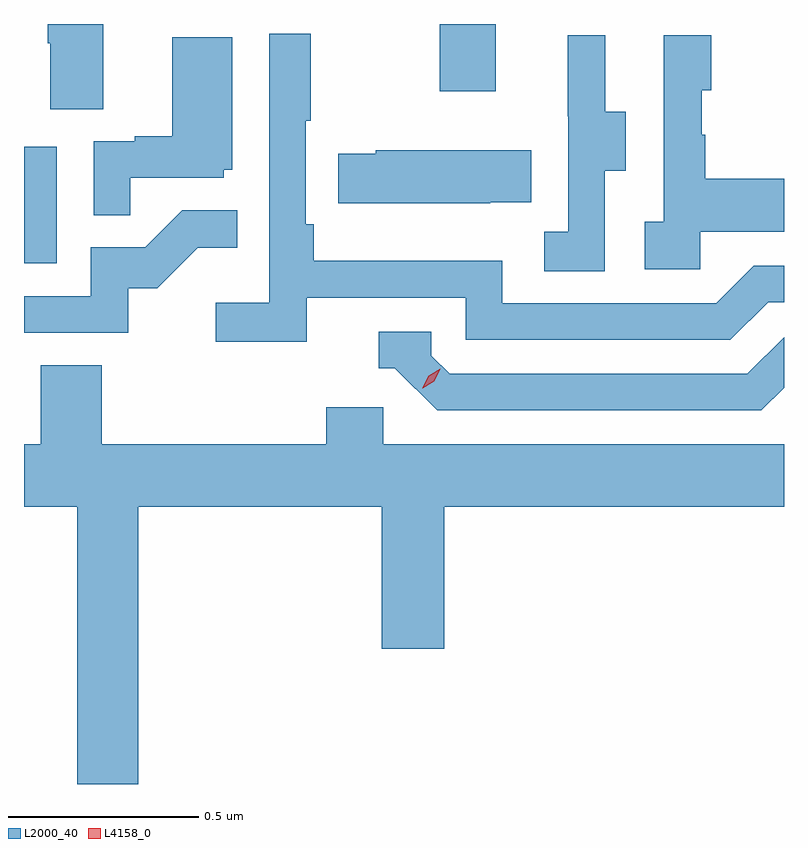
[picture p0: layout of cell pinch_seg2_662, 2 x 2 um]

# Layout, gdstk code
import gdstk
lib = gdstk.Library(unit=1e-6, precision=1e-09)
def R(c, l, rs):  # rectangles x0, y0, x1, y1
    for r in rs: c.add(gdstk.rectangle(r[:2], r[2:], *l))
def P(c, l, *ps):  # polygons
    for p in ps: c.add(gdstk.Polygon(p, *l))
L2000_40 = (2000, 40)
L4158_0 = (4158, 0)

pinch_seg2_662 = lib.new_cell('pinch_seg2_662')
R(pinch_seg2_662, L2000_40, [(1063.166,602.988,1063.252,603.295), (1064.26,603.441,1064.407,603.618)])
P(pinch_seg2_662, L2000_40, [(1063.375,603.618),(1063.228,603.618),(1063.228,603.568),(1063.235,603.568),(1063.235,603.394),(1063.375,603.394)],
  [(1063.91,602.898),(1064.328,602.898),(1064.328,602.787),(1065.025,602.787),(1065.124,602.886),(1065.166,602.886),(1065.166,602.982),(1065.087,602.982),(1064.988,602.883),(1064.424,602.883),(1064.424,602.995),(1063.928,602.995),(1063.928,603.091),(1063.908,603.091),(1063.908,603.364),(1063.921,603.364),(1063.921,603.592),(1063.812,603.592),(1063.812,602.884),(1063.671,602.884),(1063.671,602.782),(1063.91,602.782)],
  [(1064.946,603.071),(1065.166,603.071),(1065.166,603.211),(1064.959,603.211),(1064.959,603.326),(1064.949,603.326),(1064.949,603.444),(1064.974,603.444),(1064.974,603.589),(1064.85,603.589),(1064.85,603.098),(1064.799,603.098),(1064.799,602.973),(1064.946,602.973)],
  [(1064.694,603.232),(1064.749,603.232),(1064.749,603.387),(1064.695,603.387),(1064.695,603.589),(1064.597,603.589),(1064.597,603.375),(1064.598,603.375),(1064.598,603.071),(1064.535,603.071),(1064.535,602.968),(1064.694,602.968)],
  [(1063.445,603.213),(1063.692,603.213),(1063.692,603.234),(1063.714,603.234),(1063.714,603.583),(1063.556,603.583),(1063.556,603.322),(1063.457,603.322),(1063.457,603.309),(1063.35,603.309),(1063.35,603.115),(1063.445,603.115)],
  [(1064.393,603.149),(1064.501,603.149),(1064.501,603.286),(1064.091,603.286),(1064.091,603.276),(1063.993,603.276),(1063.993,603.146),(1064.393,603.146)],
  [(1063.44,602.922),(1063.516,602.922),(1063.623,603.029),(1063.727,603.029),(1063.727,603.128),(1063.583,603.128),(1063.485,603.03),(1063.341,603.03),(1063.341,602.901),(1063.166,602.901),(1063.166,602.805),(1063.44,602.805)],
  [(1065.166,602.661),(1065.166,602.794),(1065.069,602.697),(1064.286,602.697),(1064.238,602.745),(1064.238,602.808),(1064.099,602.808),(1064.099,602.712),(1064.142,602.712),(1064.253,602.601),(1065.106,602.601)],
  [(1063.466,602.348),(1064.108,602.348),(1064.108,601.974),(1064.272,601.974),(1064.272,602.348),(1065.166,602.348),(1065.166,602.512),(1064.112,602.512),(1064.112,602.61),(1063.961,602.61),(1063.961,602.512),(1063.37,602.512),(1063.37,602.72),(1063.21,602.72),(1063.21,602.512),(1063.166,602.512),(1063.166,602.348),(1063.306,602.348),(1063.306,601.618),(1063.466,601.618)])
P(pinch_seg2_662, L4158_0, [(1064.214,602.659),(1064.214,602.66),(1064.231,602.692),(1064.261,602.711),(1064.262,602.711),(1064.262,602.71),(1064.245,602.678),(1064.215,602.659)])

lib.write_gds('pinch_seg2_662.gds')
